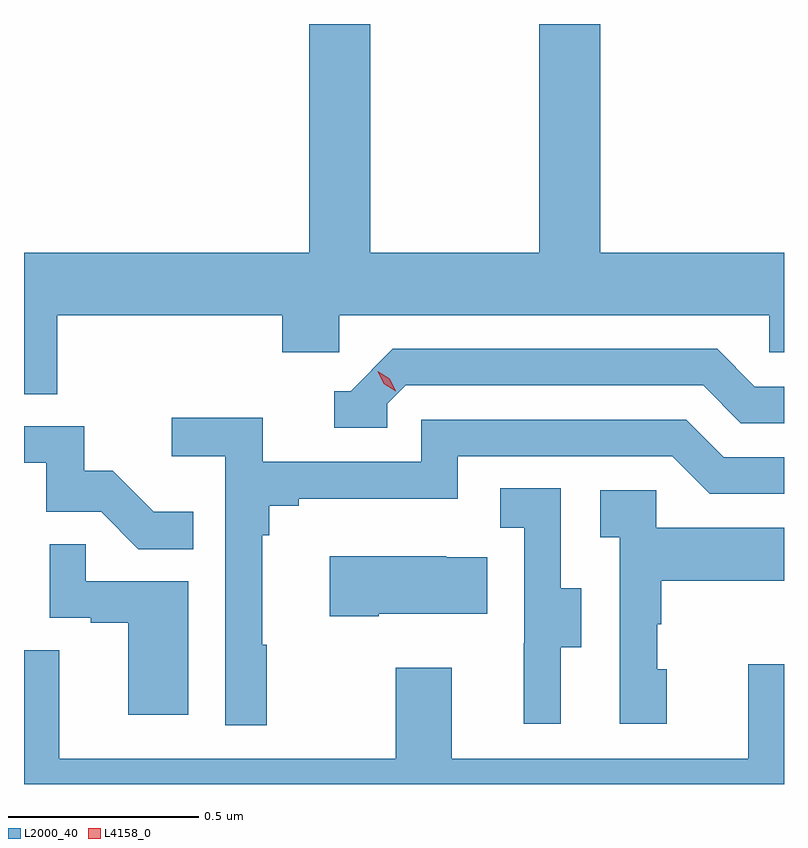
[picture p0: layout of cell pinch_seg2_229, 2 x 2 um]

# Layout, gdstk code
import gdstk
lib = gdstk.Library(unit=1e-6, precision=1e-09)
def P(c, l, *ps):  # polygons
    for p in ps: c.add(gdstk.Polygon(p, *l))
L2000_40 = (2000, 40)
L4158_0 = (4158, 0)

pinch_seg2_229 = lib.new_cell('pinch_seg2_229')
P(pinch_seg2_229, L2000_40, [(1001.876,658.292),(1002.467,658.292),(1002.467,658.194),(1002.618,658.194),(1002.618,658.292),(1003.749,658.292),(1003.749,658.194),(1003.788,658.194),(1003.788,658.456),(1003.304,658.456),(1003.304,659.058),(1003.144,659.058),(1003.144,658.456),(1002.699,658.456),(1002.699,659.058),(1002.539,659.058),(1002.539,658.456),(1001.788,658.456),(1001.788,658.084),(1001.876,658.084)],
  [(1002.744,658.059),(1002.792,658.107),(1003.575,658.107),(1003.674,658.008),(1003.788,658.008),(1003.788,658.104),(1003.711,658.104),(1003.612,658.203),(1002.759,658.203),(1002.648,658.092),(1002.605,658.092),(1002.605,657.996),(1002.744,657.996)],
  [(1002.427,657.425),(1002.415,657.425),(1002.415,657.713),(1002.434,657.713),(1002.434,657.79),(1002.511,657.79),(1002.511,657.809),(1002.93,657.809),(1002.93,657.921),(1003.494,657.921),(1003.593,657.822),(1003.788,657.822),(1003.788,657.918),(1003.63,657.918),(1003.531,658.017),(1002.834,658.017),(1002.834,657.906),(1002.416,657.906),(1002.416,658.022),(1002.177,658.022),(1002.177,657.92),(1002.318,657.92),(1002.318,657.213),(1002.427,657.213)],
  [(1002.233,657.775),(1002.129,657.775),(1002.022,657.882),(1001.946,657.882),(1001.946,657.999),(1001.788,657.999),(1001.788,657.903),(1001.847,657.903),(1001.847,657.774),(1001.991,657.774),(1002.089,657.676),(1002.233,657.676)],
  [(1003.201,657.418),(1003.255,657.418),(1003.255,657.573),(1003.2,657.573),(1003.2,657.836),(1003.041,657.836),(1003.041,657.733),(1003.104,657.733),(1003.104,657.429),(1003.103,657.429),(1003.103,657.216),(1003.201,657.216)],
  [(1003.48,657.36),(1003.455,657.36),(1003.455,657.479),(1003.465,657.479),(1003.465,657.593),(1003.788,657.593),(1003.788,657.733),(1003.452,657.733),(1003.452,657.831),(1003.305,657.831),(1003.305,657.707),(1003.356,657.707),(1003.356,657.216),(1003.48,657.216)],
  [(1002.22,657.591),(1001.951,657.591),(1001.951,657.689),(1001.856,657.689),(1001.856,657.495),(1001.963,657.495),(1001.963,657.483),(1002.062,657.483),(1002.062,657.24),(1002.22,657.24)],
  [(1002.721,657.506),(1003.007,657.506),(1003.007,657.655),(1002.899,657.655),(1002.899,657.658),(1002.593,657.658),(1002.593,657.499),(1002.721,657.499)],
  [(1003.788,657.373),(1003.694,657.373),(1003.694,657.124),(1002.913,657.124),(1002.913,657.364),(1002.766,657.364),(1002.766,657.124),(1001.881,657.124),(1001.881,657.41),(1001.788,657.41),(1001.788,657.058),(1003.788,657.058)])
P(pinch_seg2_229, L4158_0, [(1002.766,658.092),(1002.735,658.111),(1002.719,658.143),(1002.719,658.144),(1002.719,658.144),(1002.75,658.124),(1002.766,658.092),(1002.766,658.092)])

lib.write_gds('pinch_seg2_229.gds')
